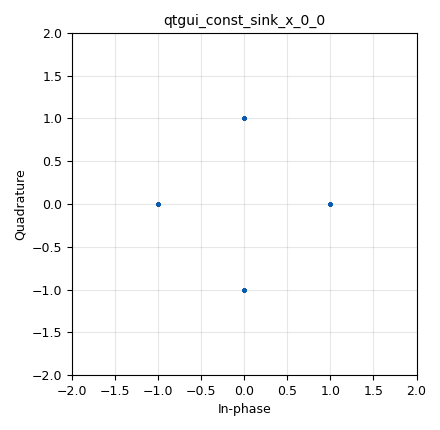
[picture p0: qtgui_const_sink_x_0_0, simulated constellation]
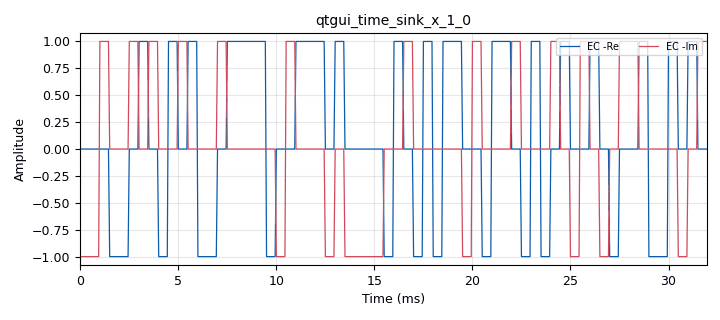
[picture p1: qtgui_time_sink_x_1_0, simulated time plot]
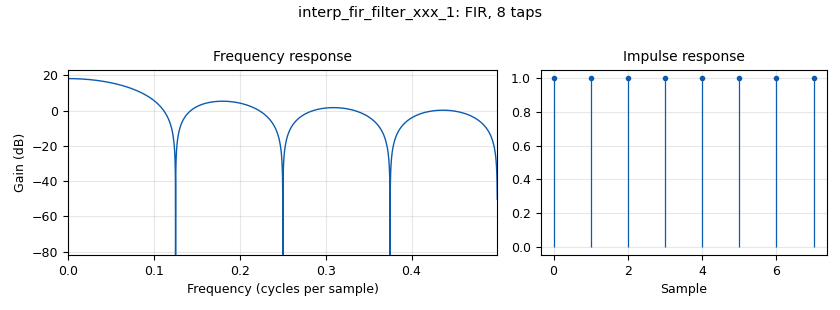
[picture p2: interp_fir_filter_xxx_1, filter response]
options:
  parameters:
    generate_options: qt_gui
    id: bloques1
    output_language: python
    title: Not titled yet
  states: {}

blocks:
- name: Constelacion
  id: variable
  parameters:
    value: (1+0j,0+1j,-1+0j,0-1j)
  states: {}
- name: M
  id: variable
  parameters:
    value: '4'
  states: {}
- name: N
  id: variable
  parameters:
    value: '1024'
  states: {}
- name: Nbps
  id: variable
  parameters:
    value: int(math.log(M,2))
  states: {}
- name: Rb
  id: variable
  parameters:
    value: '32000'
  states: {}
- name: Rs
  id: variable
  parameters:
    value: Rb/Nbps
  states: {}
- name: Sps
  id: variable
  parameters:
    value: len(h)
  states: {}
- name: h
  id: variable
  parameters:
    value: '[1,1,1,1,1,1,1,1]'
  states: {}
- name: samp_rate
  id: variable
  parameters:
    value: Rs*Sps
  states: {}
- name: Menu
  id: qtgui_tab_widget
  parameters:
    label0: Time & Freq
    label1: Freq
    num_tabs: '2'
  states: {state: disabled}
- name: analog_const_source_x_0
  id: analog_const_source_x
  parameters:
    const: '1.0'
    type: float
  states: {state: disabled}
- name: analog_noise_source_x_0
  id: analog_noise_source_x
  parameters:
    amp: '1'
    noise_type: analog.GR_GAUSSIAN
    seed: '76'
    type: float
  states: {state: disabled}
- name: analog_noise_source_x_1
  id: analog_noise_source_x
  parameters:
    amp: '0'
    noise_type: analog.GR_GAUSSIAN
    seed: '0'
    type: complex
  states: {}
- name: analog_random_source_x_0
  id: analog_random_source_x
  parameters:
    max: '2'
    min: '0'
    num_samps: '1000'
    repeat: 'True'
    type: byte
  states: {}
- name: blocks_add_xx_0
  id: blocks_add_xx
  parameters:
    type: complex
  states: {}
- name: blocks_char_to_float_0
  id: blocks_char_to_float
  parameters:
    scale: '1'
  states: {state: disabled}
- name: blocks_char_to_float_0_0
  id: blocks_char_to_float
  parameters:
    scale: '1'
  states: {state: disabled}
- name: blocks_complex_to_mag_squared_0
  id: blocks_complex_to_mag_squared
  parameters:
    vlen: N
  states: {state: disabled}
- name: blocks_multiply_const_vxx_1
  id: blocks_multiply_const_vxx
  parameters:
    const: '[1/(N*samp_rate)]*N'
    type: float
    vlen: N
  states: {state: disabled}
- name: blocks_null_sink_0
  id: blocks_null_sink
  parameters:
    type: float
  states: {state: disabled}
- name: blocks_null_sink_0_0
  id: blocks_null_sink
  parameters:
    type: complex
  states: {}
- name: blocks_repack_bits_bb_0
  id: blocks_repack_bits_bb
  parameters:
    endianness: gr.GR_LSB_FIRST
    k: '1'
    l: Nbps
  states: {}
- name: blocks_stream_to_vector_0
  id: blocks_stream_to_vector
  parameters:
    num_items: N
    type: complex
  states: {state: disabled}
- name: blocks_throttle_0
  id: blocks_throttle
  parameters:
    samples_per_second: samp_rate
    type: complex
  states: {state: disabled}
- name: blocks_throttle_0_0
  id: blocks_throttle
  parameters:
    samples_per_second: samp_rate
    type: complex
  states: {}
- name: digital_chunks_to_symbols_xx_0
  id: digital_chunks_to_symbols_xx
  parameters:
    dimension: '1'
    in_type: byte
    out_type: complex
    symbol_table: Constelacion
  states: {}
- name: epy_block_0
  id: epy_block
  parameters:
    _source_code: |
      """
      Embedded Python Blocks:

      Each time this file is saved, GRC will instantiate the first class it finds
      to get ports and parameters of your block. The arguments to __init__  will
      be the parameters. All of them are required to have default values!
      """

      import numpy as np
      from gnuradio import gr


      class blk(gr.sync_block):  # other base classes are basic_block, decim_block, interp_block
          """Embedded Python Block example - a simple multiply const"""

          def __init__(self, example_param=1.0):  # only default arguments here
              """Bloque para la practica 4 de lab"""
              gr.sync_block.__init__(
                  self,
                  name='VCO complex',   # will show up in GRC
                  in_sig=[np.float32, np.float32],
                  out_sig=[np.complex64]
              )
              # if an attribute with the same name as a parameter is found,
              # a callback is registered (properties work, too).
              self.example_param = example_param

          def work(self, input_items, output_items):
              Q=input_items[0]
              A=input_items[1]
              Sec=output_items[0]
              Sec[:]=A*np.exp(1.j*Q)
              return len(Sec)
    example_param: '1.0'
  states: {state: disabled}
- name: epy_block_0_0
  id: epy_block
  parameters:
    N: N
    _source_code: |
      import numpy as np
      from gnuradio import gr


      class blk(gr.sync_block):  
          """vector averager. N is the lengh of the vector"""

          def __init__(self, N=1024):
              gr.sync_block.__init__(
                  self,
                  name='e_vec_averager_ff',   
                  in_sig=[(np.float32,N)],
                  out_sig=[(np.float32,N)]
              )
              self.N = N
              self.rows_counter=0
              self.sum=0

          def work(self, input_items, output_items):
              x=input_items[0]
              y=output_items[0]
              self.sum += np.sum(x, axis=0)
              self.rows_counter += len(x)
              y[:]=self.sum/self.rows_counter
              return len(output_items[0])
  states: {state: disabled}
- name: fft_vxx_0
  id: fft_vxx
  parameters:
    fft_size: N
    forward: 'True'
    shift: 'True'
    type: complex
    window: '[1]*N'
  states: {state: disabled}
- name: import_0
  id: import
  parameters:
    imports: import math
  states: {}
- name: interp_fir_filter_xxx_1
  id: interp_fir_filter_xxx
  parameters:
    interp: '8'
    taps: h
    type: ccc
  states: {}
- name: qtgui_const_sink_x_0
  id: qtgui_const_sink_x
  parameters:
    size: '1024'
    type: complex
  states: {state: disabled}
- name: qtgui_const_sink_x_0_0
  id: qtgui_const_sink_x
  parameters:
    size: '1024'
    type: complex
  states: {}
- name: qtgui_freq_sink_x_0
  id: qtgui_freq_sink_x
  parameters:
    average: '0.05'
    bw: samp_rate
    fc: '0'
    fftsize: '1024'
    type: complex
  states: {state: disabled}
- name: qtgui_freq_sink_x_0_0
  id: qtgui_freq_sink_x
  parameters:
    bw: samp_rate
    fc: '0'
    fftsize: N
    gui_hint: Menu@1:3,0,1,1
    type: complex
  states: {state: disabled}
- name: qtgui_time_sink_x_0
  id: qtgui_time_sink_x
  parameters:
    label1: Binary
    marker1: '0'
    size: '32'
    srate: Rb
    stemplot: 'True'
    type: float
    width1: '3'
  states: {state: disabled}
- name: qtgui_time_sink_x_0_0
  id: qtgui_time_sink_x
  parameters:
    label1: MPAM Mod
    marker1: '0'
    size: int(32/Nbps)
    srate: Rs
    stemplot: 'True'
    type: float
    width1: '3'
  states: {state: disabled}
- name: qtgui_time_sink_x_0_0_0
  id: qtgui_time_sink_x
  parameters:
    label1: MPAM
    marker1: '0'
    size: int(32/Nbps)
    srate: Rs
    stemplot: 'True'
    type: float
    width1: '3'
  states: {state: disabled}
- name: qtgui_time_sink_x_0_0_0_0
  id: qtgui_time_sink_x
  parameters:
    alpha1: '3'
    label1: EC-Re
    label2: EC-Im
    size: int(32*Sps/Nbps)
    srate: samp_rate
    type: complex
    width1: '3'
  states: {state: disabled}
- name: qtgui_time_sink_x_0_1
  id: qtgui_time_sink_x
  parameters:
    autoscale: 'True'
    gui_hint: Menu@0:2,0,1,1
    label1: p4
    size: 16*Sps
    srate: samp_rate
    type: complex
    width1: '3'
    ymax: '1.50'
    ymin: '-1.50'
  states: {state: disabled}
- name: qtgui_time_sink_x_1_0
  id: qtgui_time_sink_x
  parameters:
    label1: EC -Re
    label2: EC -Im
    size: '512'
    srate: Rs
    type: complex
    width1: '2'
    width2: '2'
  states: {}
- name: qtgui_vector_sink_f_0
  id: qtgui_vector_sink_f
  parameters:
    gui_hint: Menu@0:3,0,1,1
    label1: p4
    name: '"PSD (Watts/Hz)"'
    vlen: N
    x_axis_label: '"f"'
    x_start: '-samp_rate/2'
    x_step: samp_rate/N
    x_units: '"Hz"'
    y_axis_label: '"Sx(f)"'
    y_units: '"Watss/Hz"'
    ymax: 1/Rb
    ymin: '0'
  states: {state: disabled}
- name: virtual_sink_0_1_0
  id: virtual_sink
  parameters:
    stream_id: p4
  states: {state: disabled}
- name: virtual_sink_0_1_0_0
  id: virtual_sink
  parameters:
    stream_id: p5
  states: {state: disabled}
- name: virtual_source_0
  id: virtual_source
  parameters:
    stream_id: p4
  states: {state: disabled}
- name: virtual_source_0_0
  id: virtual_source
  parameters:
    stream_id: p5
  states: {state: disabled}

connections:
- [analog_const_source_x_0, '0', epy_block_0, '1']
- [analog_noise_source_x_0, '0', virtual_sink_0_1_0_0, '0']
- [analog_noise_source_x_1, '0', blocks_add_xx_0, '1']
- [analog_random_source_x_0, '0', blocks_char_to_float_0, '0']
- [analog_random_source_x_0, '0', blocks_repack_bits_bb_0, '0']
- [blocks_add_xx_0, '0', blocks_null_sink_0_0, '0']
- [blocks_add_xx_0, '0', qtgui_const_sink_x_0_0, '0']
- [blocks_add_xx_0, '0', qtgui_time_sink_x_1_0, '0']
- [blocks_char_to_float_0, '0', qtgui_time_sink_x_0, '0']
- [blocks_char_to_float_0_0, '0', qtgui_time_sink_x_0_0, '0']
- [blocks_complex_to_mag_squared_0, '0', epy_block_0_0, '0']
- [blocks_multiply_const_vxx_1, '0', qtgui_vector_sink_f_0, '0']
- [blocks_repack_bits_bb_0, '0', blocks_char_to_float_0_0, '0']
- [blocks_repack_bits_bb_0, '0', digital_chunks_to_symbols_xx_0, '0']
- [blocks_stream_to_vector_0, '0', fft_vxx_0, '0']
- [blocks_throttle_0, '0', virtual_sink_0_1_0, '0']
- [blocks_throttle_0_0, '0', blocks_add_xx_0, '0']
- [digital_chunks_to_symbols_xx_0, '0', interp_fir_filter_xxx_1, '0']
- [epy_block_0, '0', interp_fir_filter_xxx_1, '0']
- [epy_block_0, '0', qtgui_const_sink_x_0, '0']
- [epy_block_0_0, '0', blocks_multiply_const_vxx_1, '0']
- [fft_vxx_0, '0', blocks_complex_to_mag_squared_0, '0']
- [interp_fir_filter_xxx_1, '0', blocks_throttle_0, '0']
- [interp_fir_filter_xxx_1, '0', blocks_throttle_0_0, '0']
- [interp_fir_filter_xxx_1, '0', qtgui_freq_sink_x_0, '0']
- [interp_fir_filter_xxx_1, '0', qtgui_time_sink_x_0_0_0_0, '0']
- [virtual_source_0, '0', blocks_stream_to_vector_0, '0']
- [virtual_source_0, '0', qtgui_freq_sink_x_0_0, '0']
- [virtual_source_0, '0', qtgui_time_sink_x_0_1, '0']
- [virtual_source_0_0, '0', blocks_null_sink_0, '0']

metadata:
  file_format: 1
  grc_version: v3.10.11.0-89-ga17f69e7
